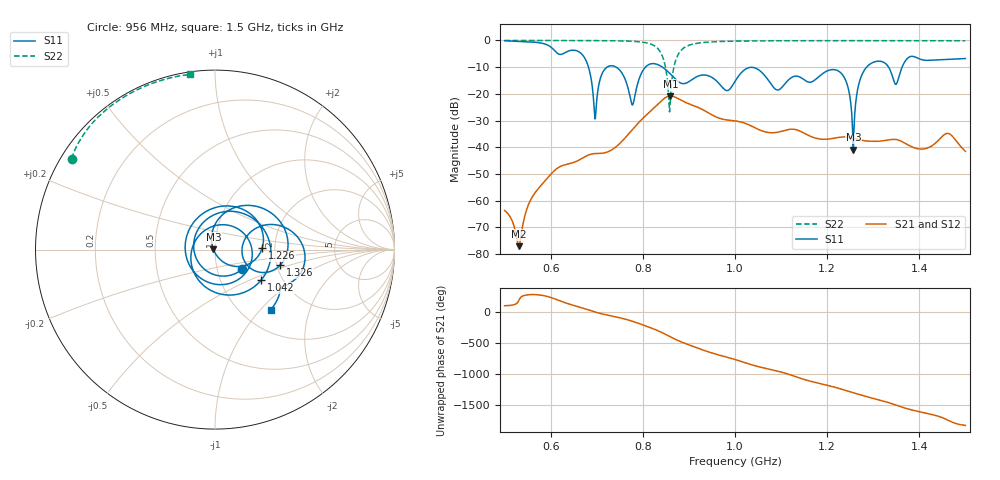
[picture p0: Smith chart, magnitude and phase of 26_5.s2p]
! TOUCHSTONE file generated by CST MICROWAVE STUDIO
! Date and time: Mon Nov 30 08:11:03 2020
! Project name: Scenario_1_Planar_Body_Tissue_Out_of_Line.cst
! Parameters = {dy1=86.5; L_HA=400; Ltissue=700; MT=2.54; Rad_Dielectric=30; Rad_Lower=7.3; Rad_Upper=30; Wtissue=700; a_HA=580; a_WG=246; b_HA=500; b_WG=121; c_HA=0; c_WG=187; d_feed=85; dx1=866; h_feed=15; h_lower=18; h_upper=40; hfat=3; hgap=25; hmuscle=50; hskin=1.5}
! Header version: 2018
! Port assignment regex: !\s*Touchstone port\s*([0-9]+)\s*=\s*(CST MWS port|CST DS port)\s*([0-9]+|Zmin|Zmax)\s*\(\"(.*)\"\)(\s*mode\s*([0-9]+))?.*
! Touchstone port assignment:
! Touchstone port 1 = CST MWS port 1 ("")
! Touchstone port 2 = CST MWS port 2 ("")
# GHz S DB R 50
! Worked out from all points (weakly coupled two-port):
!   1003 points, 500 MHz to 1.5 GHz, reference 50 ohm
!   highest |S21| = -20.82 dB at 860 MHz (marker M1); lowest = -77.0 dB at 531 MHz (marker M2)
!   lowest |S11| = -40.9 dB at 1.257 GHz (marker M3), VSWR 1.02, Z = 49.1 + j0.128 ohm
!   |S11| at or under -10 dB: 682 MHz to 722.2 MHz (40.23 MHz wide, 5.73 % of centre); 742 MHz to 805.6 MHz (63.63 MHz wide, 8.22 % of centre); 842.4 MHz to 1.286 GHz (443.3 MHz wide, 41.7 % of centre)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
!   |S22| runs from -26.7 to 0.0 dB; largest |S21 - S12| = 2.6e-05
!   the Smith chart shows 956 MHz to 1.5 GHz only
!   S11 on the Smith chart (normalised r, x): 956 MHz: 1.31, -0.30; 1.042 GHz: 1.56, -0.58; 1.226 GHz: 1.71, +0.03; 1.326 GHz: 2.08, -0.42; 1.5 GHz: 1.35, -1.14
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0.5  -0.10 -122.2  -63.68 104.7  -63.68 104.7  -0.01 151.2
0.531  -0.34 -135.3  -77.05 -166.2  -77.41 -167.0  -0.01 149.1
0.569  -0.73 -156.9  -56.37 -75.9  -56.37 -75.8  -0.01 146.4
0.667  -5.02 122.6  -44.27 73.8  -44.27 73.8  -0.04 138.4
0.697  -29.12 -63.0  -42.37 2.3  -42.37 2.3  -0.06 135.2
0.723  -9.91 169.5  -41.78 -46.1  -41.78 -46.1  -0.10 131.9
0.777  -24.14 -30.8  -33.41 -145.6  -33.41 -145.6  -0.32 121.3
0.807  -9.76 158.0  -28.04 135.6  -28.04 135.6  -0.87 109.0
0.834  -9.17 72.3  -23.63 56.5  -23.63 56.5  -3.35 83.8
0.86  -12.60 -13.2  -20.82 -39.7  -20.82 -39.7  -21.45 -108.6
0.883  -16.01 -110.3  -22.37 -120.0  -22.37 -120.0  -3.72 -175.7
0.92  -13.35 86.9  -25.10 136.4  -25.10 136.4  -1.01 157.8
0.956  -14.58 -36.3  -28.41 46.5  -28.41 46.5  -0.49 147.7
1  -15.35 108.5  -30.13 -44.8  -30.13 -44.8  -0.27 140.2
1.042  -10.22 -33.1  -32.60 -143.7  -32.60 -143.7  -0.18 135.3
1.167  -15.48 170.1  -36.13 -42.5  -36.13 -42.5  -0.09 124.2
1.226  -11.62 1.6  -36.29 -154.0  -36.29 -154.0  -0.09 119.7
1.257  -40.90 171.7  -36.61 134.4  -36.61 134.4  -0.08 117.3
1.279  -11.64 64.2  -37.51 88.6  -37.51 88.6  -0.08 115.7
1.326  -8.55 -13.4  -37.45 -6.2  -37.45 -6.2  -0.08 112.2
1.334  -10.21 -24.4  -37.24 -24.4  -37.24 -24.4  -0.08 111.5
1.5  -6.79 -47.0  -41.54 -32.9  -41.54 -32.9  -0.13 98.0
